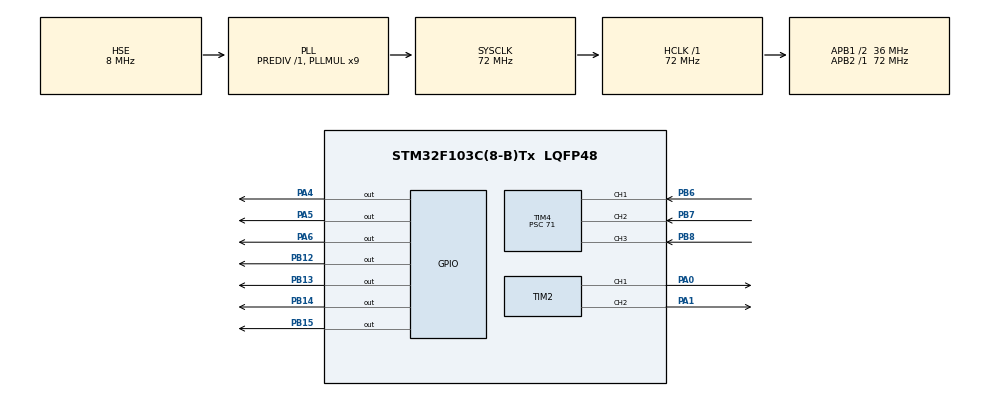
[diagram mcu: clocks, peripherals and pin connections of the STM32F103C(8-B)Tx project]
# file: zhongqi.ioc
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FREERTOS.Tasks01=task_sensor,40,128,StartDefaultTask,Default,NULL,Dynamic,NULL,NULL;task_motor,47,128,StartTask02,Default,NULL,Dynamic,NULL,NULL;task_ctrl,24,256,StartTask03,Default,NULL,Dynamic,NULL,NULL
FREERTOS.configTOTAL_HEAP_SIZE=10000
Mcu.Family=STM32F1
Mcu.Name=STM32F103C(8-B)Tx
Mcu.Package=LQFP48
NVIC.PriorityGroup=NVIC_PRIORITYGROUP_4
NVIC.TIM1_UP_IRQn=true\:15\:0\:false\:false\:true\:false\:false\:true\:true
NVIC.TIM4_IRQn=true\:5\:0\:false\:false\:true\:true\:true\:true\:true
NVIC.TimeBase=TIM1_UP_IRQn
NVIC.TimeBaseIP=TIM1
PA0-WKUP.Signal=S_TIM2_CH1_ETR
PA1.Signal=S_TIM2_CH2
PA13.Mode=Serial_Wire
PA13.Signal=SYS_JTMS-SWDIO
PA14.Mode=Serial_Wire
PA14.Signal=SYS_JTCK-SWCLK
PA4.Signal=GPIO_Output
PA5.Signal=GPIO_Output
PA6.Signal=GPIO_Output
PB12.Signal=GPIO_Output
PB13.Signal=GPIO_Output
PB14.Signal=GPIO_Output
PB15.Signal=GPIO_Output
PB6.Signal=S_TIM4_CH1
PB7.Signal=S_TIM4_CH2
PB8.Signal=S_TIM4_CH3
PD0-OSC_IN.Mode=HSE-External-Oscillator
PD0-OSC_IN.Signal=RCC_OSC_IN
PD1-OSC_OUT.Mode=HSE-External-Oscillator
PD1-OSC_OUT.Signal=RCC_OSC_OUT
ProjectManager.HeapSize=0x200
ProjectManager.StackSize=0x400
ProjectManager.TargetToolchain=STM32CubeIDE
RCC.AHBFreq_Value=72000000
RCC.APB1CLKDivider=RCC_HCLK_DIV2
RCC.APB1Freq_Value=36000000
RCC.APB1TimFreq_Value=72000000
RCC.APB2Freq_Value=72000000
RCC.APB2TimFreq_Value=72000000
RCC.HCLKFreq_Value=72000000
RCC.PLLMUL=RCC_PLL_MUL9
RCC.PLLSourceVirtual=RCC_PLLSOURCE_HSE
RCC.SYSCLKFreq_VALUE=72000000
RCC.SYSCLKSource=RCC_SYSCLKSOURCE_PLLCLK
RCC.USBFreq_Value=72000000
SH.S_TIM2_CH1_ETR.0=TIM2_CH1,PWM Generation1 CH1
SH.S_TIM2_CH2.0=TIM2_CH2,PWM Generation2 CH2
SH.S_TIM4_CH1.0=TIM4_CH1,Input_Capture1_from_TI1
SH.S_TIM4_CH2.0=TIM4_CH2,Input_Capture2_from_TI2
SH.S_TIM4_CH3.0=TIM4_CH3,Input_Capture3_from_TI3
TIM2.Channel-PWM\ Generation1\ CH1=TIM_CHANNEL_1
TIM2.Channel-PWM\ Generation2\ CH2=TIM_CHANNEL_2
TIM4.Channel-Input_Capture1_from_TI1=TIM_CHANNEL_1
TIM4.Channel-Input_Capture2_from_TI2=TIM_CHANNEL_2
TIM4.Channel-Input_Capture3_from_TI3=TIM_CHANNEL_3
TIM4.Prescaler=71
VP_FREERTOS_VS_CMSIS_V2.Mode=CMSIS_V2
VP_SYS_VS_tim1.Mode=TIM1
VP_TIM2_VS_ClockSourceINT.Mode=Internal
VP_TIM4_VS_ClockSourceINT.Mode=Internal
board=custom

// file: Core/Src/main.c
/* USER CODE BEGIN Header */
/**
  ******************************************************************************
  * @file           : main.c
  * @brief          : Main program body
  ******************************************************************************
  * @attention
  *
  * Copyright (c) 2026 STMicroelectronics.
  * All rights reserved.
  *
  * This software is licensed under terms that can be found in the LICENSE file
  * in the root directory of this software component.
  * If no LICENSE file comes with this software, it is provided AS-IS.
  *
  ******************************************************************************
  */
/* USER CODE END Header */
#include "main.h"
#include "cmsis_os.h"

/* USER CODE BEGIN Includes */
#include "SonarSensor_c.h"
#include "MotorDriver_c.h"

/* USER CODE END Includes */

/* USER CODE BEGIN PTD */
/* Simple C sensor data struct */
typedef struct { float front; float left; float right; } SensorData;

/* USER CODE END PTD */

TIM_HandleTypeDef htim2;
TIM_HandleTypeDef htim4;

/* Definitions for task_sensor */
osThreadId_t task_sensorHandle;
const osThreadAttr_t task_sensor_attributes = {
  .name = "task_sensor",
  .stack_size = 128 * 4,
  .priority = (osPriority_t) osPriorityHigh,
};
/* Definitions for task_motor */
osThreadId_t task_motorHandle;
const osThreadAttr_t task_motor_attributes = {
  .name = "task_motor",
  .stack_size = 128 * 4,
  .priority = (osPriority_t) osPriorityHigh7,
};
/* Definitions for task_ctrl */
osThreadId_t task_ctrlHandle;
const osThreadAttr_t task_ctrl_attributes = {
  .name = "task_ctrl",
  .stack_size = 256 * 4,
  .priority = (osPriority_t) osPriorityNormal,
};
/* USER CODE BEGIN PV */
/* C handles for C++ drivers (opaque) */
SonarSensor_c_t SonarFront = NULL;
SonarSensor_c_t SonarLeft = NULL;
SonarSensor_c_t SonarRight = NULL;

MotorDriver_c_t motor = NULL;

/* Sensor data (simple C struct) */
SensorData g_SensorData = {200.0f, 200.0f, 200.0f};

/* USER CODE END PV */

void SystemClock_Config(void);
static void MX_GPIO_Init(void);
static void MX_TIM2_Init(void);
static void MX_TIM4_Init(void);
void StartDefaultTask(void *argument);
void StartTask02(void *argument);
void StartTask03(void *argument);

/* USER CODE BEGIN PFP */

/* Forward declaration for filter function (implement elsewhere) */
float FilterDistance(float dist);

/* USER CODE END PFP */

int main(void)
{

  /* MCU Configuration--------------------------------------------------------*/

  /* Reset of all peripherals, Initializes the Flash interface and the Systick. */
  HAL_Init();

  /* Configure the system clock */
  SystemClock_Config();

  /* Initialize all configured peripherals */
  MX_GPIO_Init();
  MX_TIM2_Init();
  MX_TIM4_Init();

  /* Init scheduler */
  osKernelInitialize();

  /* Create the thread(s) */
  /* creation of task_sensor */
  task_sensorHandle = osThreadNew(StartDefaultTask, NULL, &task_sensor_attributes);

  /* creation of task_motor */
  task_motorHandle = osThreadNew(StartTask02, NULL, &task_motor_attributes);

  /* creation of task_ctrl */
  task_ctrlHandle = osThreadNew(StartTask03, NULL, &task_ctrl_attributes);

  /* Start scheduler */
  osKernelStart();

  /* We should never get here as control is now taken by the scheduler */

  /* Infinite loop */
  while (1)
  {

  }
}

void SystemClock_Config(void)
{
  RCC_OscInitTypeDef RCC_OscInitStruct = {0};
  RCC_ClkInitTypeDef RCC_ClkInitStruct = {0};

  /** Initializes the RCC Oscillators according to the specified parameters
  * in the RCC_OscInitTypeDef structure.
  */
  RCC_OscInitStruct.OscillatorType = RCC_OSCILLATORTYPE_HSE;
  RCC_OscInitStruct.HSEState = RCC_HSE_ON;
  RCC_OscInitStruct.HSEPredivValue = RCC_HSE_PREDIV_DIV1;
  RCC_OscInitStruct.HSIState = RCC_HSI_ON;
  RCC_OscInitStruct.PLL.PLLState = RCC_PLL_ON;
  RCC_OscInitStruct.PLL.PLLSource = RCC_PLLSOURCE_HSE;
  RCC_OscInitStruct.PLL.PLLMUL = RCC_PLL_MUL9;
  if (HAL_RCC_OscConfig(&RCC_OscInitStruct) != HAL_OK)
  {
    Error_Handler();
  }

  /** Initializes the CPU, AHB and APB buses clocks
  */
  RCC_ClkInitStruct.ClockType = RCC_CLOCKTYPE_HCLK|RCC_CLOCKTYPE_SYSCLK
                              |RCC_CLOCKTYPE_PCLK1|RCC_CLOCKTYPE_PCLK2;
  RCC_ClkInitStruct.SYSCLKSource = RCC_SYSCLKSOURCE_PLLCLK;
  RCC_ClkInitStruct.AHBCLKDivider = RCC_SYSCLK_DIV1;
  RCC_ClkInitStruct.APB1CLKDivider = RCC_HCLK_DIV2;
  RCC_ClkInitStruct.APB2CLKDivider = RCC_HCLK_DIV1;

  if (HAL_RCC_ClockConfig(&RCC_ClkInitStruct, FLASH_LATENCY_2) != HAL_OK)
  {
    Error_Handler();
  }
}

static void MX_TIM2_Init(void)
{

  TIM_ClockConfigTypeDef sClockSourceConfig = {0};
  TIM_MasterConfigTypeDef sMasterConfig = {0};
  TIM_OC_InitTypeDef sConfigOC = {0};

  htim2.Instance = TIM2;
  htim2.Init.Prescaler = 0;
  htim2.Init.CounterMode = TIM_COUNTERMODE_UP;
  htim2.Init.Period = 65535;
  htim2.Init.ClockDivision = TIM_CLOCKDIVISION_DIV1;
  htim2.Init.AutoReloadPreload = TIM_AUTORELOAD_PRELOAD_DISABLE;
  if (HAL_TIM_Base_Init(&htim2) != HAL_OK)
  {
    Error_Handler();
  }
  sClockSourceConfig.ClockSource = TIM_CLOCKSOURCE_INTERNAL;
  if (HAL_TIM_ConfigClockSource(&htim2, &sClockSourceConfig) != HAL_OK)
  {
    Error_Handler();
  }
  if (HAL_TIM_PWM_Init(&htim2) != HAL_OK)
  {
    Error_Handler();
  }
  sMasterConfig.MasterOutputTrigger = TIM_TRGO_RESET;
  sMasterConfig.MasterSlaveMode = TIM_MASTERSLAVEMODE_DISABLE;
  if (HAL_TIMEx_MasterConfigSynchronization(&htim2, &sMasterConfig) != HAL_OK)
  {
    Error_Handler();
  }
  sConfigOC.OCMode = TIM_OCMODE_PWM1;
  sConfigOC.Pulse = 0;
  sConfigOC.OCPolarity = TIM_OCPOLARITY_HIGH;
  sConfigOC.OCFastMode = TIM_OCFAST_DISABLE;
  if (HAL_TIM_PWM_ConfigChannel(&htim2, &sConfigOC, TIM_CHANNEL_1) != HAL_OK)
  {
    Error_Handler();
  }
  if (HAL_TIM_PWM_ConfigChannel(&htim2, &sConfigOC, TIM_CHANNEL_2) != HAL_OK)
  {
    Error_Handler();
  }
  HAL_TIM_MspPostInit(&htim2);

}

static void MX_TIM4_Init(void)
{

  TIM_ClockConfigTypeDef sClockSourceConfig = {0};
  TIM_MasterConfigTypeDef sMasterConfig = {0};
  TIM_IC_InitTypeDef sConfigIC = {0};

  htim4.Instance = TIM4;
  htim4.Init.Prescaler = 71;
  htim4.Init.CounterMode = TIM_COUNTERMODE_UP;
  htim4.Init.Period = 65535;
  htim4.Init.ClockDivision = TIM_CLOCKDIVISION_DIV1;
  htim4.Init.AutoReloadPreload = TIM_AUTORELOAD_PRELOAD_DISABLE;
  if (HAL_TIM_Base_Init(&htim4) != HAL_OK)
  {
    Error_Handler();
  }
  sClockSourceConfig.ClockSource = TIM_CLOCKSOURCE_INTERNAL;
  if (HAL_TIM_ConfigClockSource(&htim4, &sClockSourceConfig) != HAL_OK)
  {
    Error_Handler();
  }
  if (HAL_TIM_IC_Init(&htim4) != HAL_OK)
  {
    Error_Handler();
  }
  sMasterConfig.MasterOutputTrigger = TIM_TRGO_RESET;
  sMasterConfig.MasterSlaveMode = TIM_MASTERSLAVEMODE_DISABLE;
  if (HAL_TIMEx_MasterConfigSynchronization(&htim4, &sMasterConfig) != HAL_OK)
  {
    Error_Handler();
  }
  sConfigIC.ICPolarity = TIM_INPUTCHANNELPOLARITY_RISING;
  sConfigIC.ICSelection = TIM_ICSELECTION_DIRECTTI;
  sConfigIC.ICPrescaler = TIM_ICPSC_DIV1;
  sConfigIC.ICFilter = 0;
  if (HAL_TIM_IC_ConfigChannel(&htim4, &sConfigIC, TIM_CHANNEL_1) != HAL_OK)
  {
    Error_Handler();
  }
  if (HAL_TIM_IC_ConfigChannel(&htim4, &sConfigIC, TIM_CHANNEL_2) != HAL_OK)
  {
    Error_Handler();
  }
  if (HAL_TIM_IC_ConfigChannel(&htim4, &sConfigIC, TIM_CHANNEL_3) != HAL_OK)
  {
    Error_Handler();
  }

}

static void MX_GPIO_Init(void)
{
  GPIO_InitTypeDef GPIO_InitStruct = {0};

  /* GPIO Ports Clock Enable */
  __HAL_RCC_GPIOD_CLK_ENABLE();
  __HAL_RCC_GPIOA_CLK_ENABLE();
  __HAL_RCC_GPIOB_CLK_ENABLE();

  /*Configure GPIO pin Output Level */
  HAL_GPIO_WritePin(GPIOA, GPIO_PIN_4|GPIO_PIN_5|GPIO_PIN_6, GPIO_PIN_RESET);

  /*Configure GPIO pin Output Level */
  HAL_GPIO_WritePin(GPIOB, GPIO_PIN_12|GPIO_PIN_13|GPIO_PIN_14|GPIO_PIN_15, GPIO_PIN_RESET);

  /*Configure GPIO pins : PA4 PA5 PA6 */
  GPIO_InitStruct.Pin = GPIO_PIN_4|GPIO_PIN_5|GPIO_PIN_6;
  GPIO_InitStruct.Mode = GPIO_MODE_OUTPUT_PP;
  GPIO_InitStruct.Pull = GPIO_NOPULL;
  GPIO_InitStruct.Speed = GPIO_SPEED_FREQ_LOW;
  HAL_GPIO_Init(GPIOA, &GPIO_InitStruct);

  /*Configure GPIO pins : PB12 PB13 PB14 PB15 */
  GPIO_InitStruct.Pin = GPIO_PIN_12|GPIO_PIN_13|GPIO_PIN_14|GPIO_PIN_15;
  GPIO_InitStruct.Mode = GPIO_MODE_OUTPUT_PP;
  GPIO_InitStruct.Pull = GPIO_NOPULL;
  GPIO_InitStruct.Speed = GPIO_SPEED_FREQ_LOW;
  HAL_GPIO_Init(GPIOB, &GPIO_InitStruct);

}

/* USER CODE BEGIN 4 */
/* USER CODE BEGIN 4 */

#define MAX_DIST 400.0f

// 简单的低通滤波器
float FilterDistance(float dist) {
    static float lastValidDist = 200.0f;
    const float alpha = 0.7f;  // 滤波系数

    // 过滤异常值
    if (dist <= 0 || dist > MAX_DIST) {
        return lastValidDist;
    }

    // 一阶低通滤波
    lastValidDist = alpha * dist + (1.0f - alpha) * lastValidDist;
    return lastValidDist;
}

// 控制任务
void Task_Ctrl(void *argument) {
    for(;;) {
        // 简单的避障逻辑
        if (g_SensorData.front < 30.0f) {
            MotorDriver_setTargetSpeed(motor, -30, -30);  // 后退
            osDelay(500);
            MotorDriver_setTargetSpeed(motor, -30, 30);   // 转向
            osDelay(300);
        } else {
            MotorDriver_setTargetSpeed(motor, 50, 50);    // 前进
        }
        osDelay(50);
    }
}

/* USER CODE END 4 */
/* USER CODE END 4 */

void StartDefaultTask(void *argument)
{
  /* USER CODE BEGIN 5 */
  /* Initialize sonar sensors and run periodic measurements (ported from main.cpp)
     SonarSensor API is expected to provide Init/Trigger/GetDistanceCm functions.
     Delay values converted to osDelay milliseconds. */
  SonarFront = SonarSensor_create(GPIOA, GPIO_PIN_4, &htim4, TIM_CHANNEL_1);
  SonarSensor_init(SonarFront);
  SonarLeft  = SonarSensor_create(GPIOA, GPIO_PIN_5, &htim4, TIM_CHANNEL_2);
  SonarSensor_init(SonarLeft);
  SonarRight = SonarSensor_create(GPIOA, GPIO_PIN_6, &htim4, TIM_CHANNEL_3);
  SonarSensor_init(SonarRight);

  /* small startup delay */
  osDelay(100);

  for(;;)
  {
    /* front */
    SonarSensor_trigger(SonarFront);
    osDelay(15);
    g_SensorData.front = FilterDistance(SonarSensor_getDistanceCm(SonarFront));

    /* left */
    SonarSensor_trigger(SonarLeft);
    osDelay(15);
    g_SensorData.left = FilterDistance(SonarSensor_getDistanceCm(SonarLeft));

    /* right */
    SonarSensor_trigger(SonarRight);
    osDelay(15);
    g_SensorData.right = FilterDistance(SonarSensor_getDistanceCm(SonarRight));

    /* small pause between cycles */
    osDelay(5);
  }
  /* USER CODE END 5 */
}

void StartTask02(void *argument)
{
  /* USER CODE BEGIN StartTask02 */
  /* Motor control task (ported from main.cpp) */
  motor = MotorDriver_create();
  MotorDriver_init(motor);
  MotorDriver_setTargetSpeed(motor, 0, 0);

  for(;;)
  {
    MotorDriver_update(motor);
    osDelay(10);
  }
  /* USER CODE END StartTask02 */
}

void StartTask03(void *argument)
{
  /* USER CODE BEGIN StartTask03 */
  /* Control task: forward to user-defined control function in C
     Task_Ctrl must be implemented elsewhere with C linkage */
  extern void Task_Ctrl(void *argument);
  Task_Ctrl(argument);
  /* USER CODE END StartTask03 */
}

void HAL_TIM_PeriodElapsedCallback(TIM_HandleTypeDef *htim)
{
  if (htim->Instance == TIM1)
  {
    HAL_IncTick();
  }
}

void Error_Handler(void)
{
  __disable_irq();
  while (1)
  {
  }
}
